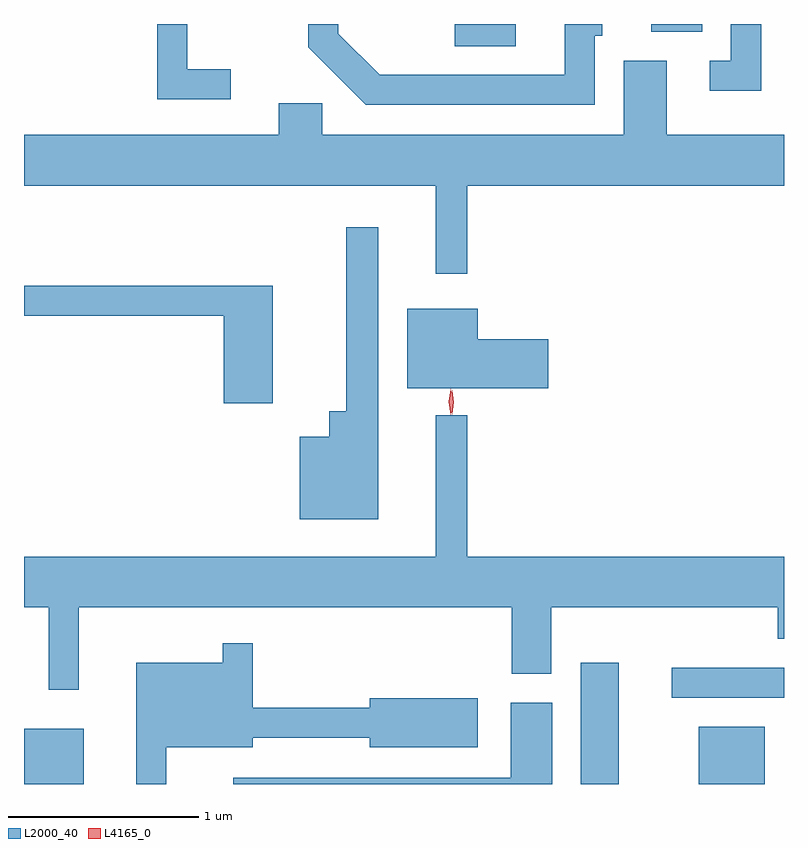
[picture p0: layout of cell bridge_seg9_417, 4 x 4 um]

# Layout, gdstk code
import gdstk
lib = gdstk.Library(unit=1e-6, precision=1e-09)
def R(c, l, rs):  # rectangles x0, y0, x1, y1
    for r in rs: c.add(gdstk.rectangle(r[:2], r[2:], *l))
def P(c, l, *ps):  # polygons
    for p in ps: c.add(gdstk.Polygon(p, *l))
L2000_40 = (2000, 40)
L4165_0 = (4165, 0)

bridge_seg9_417 = lib.new_cell('bridge_seg9_417')
R(bridge_seg9_417, L2000_40, [(386.265,2033.067,386.579,2033.359), (389.196,2033.067,389.394,2033.704), (389.816,2033.067,390.164,2033.369), (389.673,2033.521,390.265,2033.679), (388.531,2036.951,388.853,2037.067), (389.566,2037.026,389.834,2037.067)])
P(bridge_seg9_417, L2000_40, [(390.144,2037.067),(389.986,2037.067),(389.986,2036.874),(389.873,2036.874),(389.873,2036.716),(390.144,2036.716)],
  [(387.353,2036.829),(387.124,2036.829),(387.124,2037.067),(386.966,2037.067),(386.966,2036.671),(387.353,2036.671)],
  [(389.269,2037.006),(389.309,2037.006),(389.309,2037.067),(389.111,2037.067),(389.111,2036.799),(388.137,2036.799),(387.919,2037.017),(387.919,2037.067),(387.761,2037.067),(387.761,2036.944),(388.064,2036.641),(389.269,2036.641)],
  [(388.599,2036.216),(390.265,2036.216),(390.265,2036.484),(389.649,2036.484),(389.649,2036.874),(389.421,2036.874),(389.421,2036.484),(387.834,2036.484),(387.834,2036.649),(387.606,2036.649),(387.606,2036.484),(386.265,2036.484),(386.265,2036.216),(388.431,2036.216),(388.431,2035.753),(388.599,2035.753)],
  [(388.129,2035.998),(387.961,2035.998),(387.961,2035.029),(387.871,2035.029),(387.871,2034.894),(387.716,2034.894),(387.716,2034.461),(388.129,2034.461)],
  [(387.574,2035.689),(386.265,2035.689),(386.265,2035.531),(387.316,2035.531),(387.316,2035.071),(387.574,2035.071)],
  [(389.024,2035.409),(388.654,2035.409),(388.654,2035.569),(388.281,2035.569),(388.281,2035.151),(389.024,2035.151)],
  [(386.554,2033.996),(388.831,2033.996),(388.831,2033.646),(389.039,2033.646),(389.039,2033.996),(390.231,2033.996),(390.231,2033.831),(390.265,2033.831),(390.265,2034.264),(388.599,2034.264),(388.599,2035.008),(388.431,2035.008),(388.431,2034.264),(386.265,2034.264),(386.265,2033.996),(386.396,2033.996),(386.396,2033.563),(386.554,2033.563)],
  [(387.014,2033.261),(387.469,2033.261),(387.469,2033.311),(388.086,2033.311),(388.086,2033.261),(388.654,2033.261),(388.654,2033.519),(388.086,2033.519),(388.086,2033.469),(387.469,2033.469),(387.469,2033.808),(387.311,2033.808),(387.311,2033.704),(386.856,2033.704),(386.856,2033.067),(387.014,2033.067)],
  [(389.044,2033.494),(388.826,2033.494),(388.826,2033.099),(387.366,2033.099),(387.366,2033.067),(389.044,2033.067)])
P(bridge_seg9_417, L4165_0, [(388.511,2035.01),(388.511,2035.01),(388.501,2035.078),(388.51,2035.145),(388.51,2035.146),(388.511,2035.145),(388.521,2035.078),(388.512,2035.01)],
  [(388.518,2035.013),(388.518,2035.013),(388.508,2035.076),(388.518,2035.139),(388.518,2035.14),(388.519,2035.139),(388.528,2035.076),(388.519,2035.013)])

lib.write_gds('bridge_seg9_417.gds')
